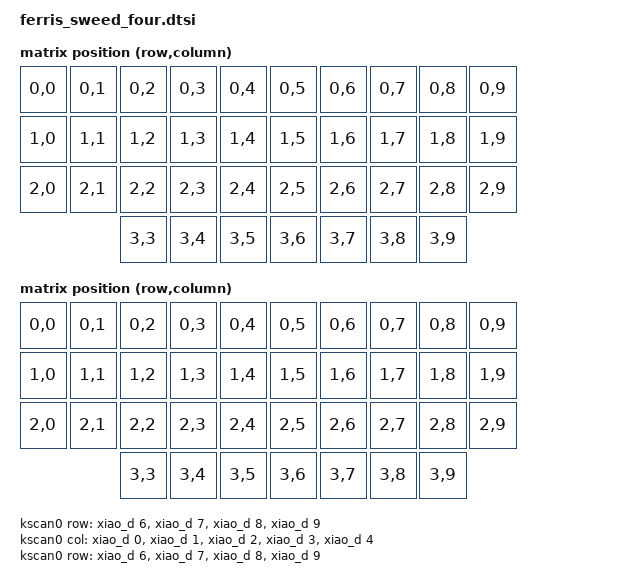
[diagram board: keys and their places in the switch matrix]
/*
 * Copyright (c) 2022 The ZMK Contributors
 *
 * SPDX-License-Identifier: MIT
 */

#include <dt-bindings/zmk/matrix_transform.h>

/ {
    chosen {
        zmk,kscan = &kscan0;
        zmk,matrix_transform = &default_transform;
    /delete-property/ zephyr,console;
    /delete-property/ zephyr,shell-uart;
    };

    default_transform: keymap_transform_0 {
        compatible = "zmk,matrix-transform";
        columns = <7>;
        rows = <6>;
        map = <
    RC(0,0) RC(1,0) RC(0,1) RC(1,1) RC(0,2) RC(1,2) RC(0,3) RC(1,3) RC(0,4) RC(1,4)
    RC(2,0) RC(3,0) RC(2,1) RC(3,1) RC(2,2) RC(3,2) RC(2,3) RC(3,3) RC(2,4) RC(3,4)
            RC(4,0) RC(5,0) RC(4,1)                 RC(5,2) RC(4,3) RC(5,3)
                          RC(5,1) RC(4,2)       RC(5,4) RC(4,4)
        >;
    };


    kscan0: kscan_0 {
        compatible = "zmk,kscan-gpio-matrix";
        label = "KSCAN";
        diode-direction = "col2row";

        col-gpios
            = <&xiao_d 0 (GPIO_ACTIVE_HIGH | GPIO_PULL_DOWN)>
            , <&xiao_d 1 (GPIO_ACTIVE_HIGH | GPIO_PULL_DOWN)>
            , <&xiao_d 2 (GPIO_ACTIVE_HIGH | GPIO_PULL_DOWN)>
            , <&xiao_d 3 (GPIO_ACTIVE_HIGH | GPIO_PULL_DOWN)>
            , <&xiao_d 4 (GPIO_ACTIVE_HIGH | GPIO_PULL_DOWN)>
            ;

        row-gpios
            = <&xiao_d 6 GPIO_ACTIVE_HIGH>
            , <&xiao_d 7 GPIO_ACTIVE_HIGH>
            , <&xiao_d 8 GPIO_ACTIVE_HIGH>
            , <&xiao_d 9 GPIO_ACTIVE_HIGH>
            ;
    };

};


/*
 * Copyright (c) 2020 Pete Johanson
 *
 * SPDX-License-Identifier: MIT
 */

#include <dt-bindings/zmk/matrix_transform.h>

/ {
    chosen {
        zephyr,display = &oled;
        zmk,kscan = &kscan0;
        zmk,matrix_transform = &default_transform;
    };

    default_transform: keymap_transform_0 {
        compatible = "zmk,matrix-transform";
        columns = <10>;
        rows = <4>;
// | SW1  | SW2  | SW3  | SW4  | SW5  | SW6  |   | SW6  | SW5  | SW4  | SW3  | SW2  | SW1  |
// | SW7  | SW8  | SW9  | SW10 | SW11 | SW12 |   | SW12 | SW11 | SW10 | SW9  | SW8  | SW7  |
// | SW13 | SW14 | SW15 | SW16 | SW17 | SW18 |   | SW18 | SW17 | SW16 | SW15 | SW14 | SW13 |
//                      | SW19 | SW20 | SW21 |   | SW21 | SW20 | SW19 |
        map = <
RC(0,0) RC(0,1) RC(0,2) RC(0,3) RC(0,4)  RC(0,5) RC(0,6) RC(0,7) RC(0,8) RC(0,9) 
RC(1,0) RC(1,1) RC(1,2) RC(1,3) RC(1,4)  RC(1,5) RC(1,6) RC(1,7) RC(1,8) RC(1,9) 
RC(2,0) RC(2,1) RC(2,2) RC(2,3) RC(2,4)  RC(2,5) RC(2,6) RC(2,7) RC(2,8) RC(2,9) 
                RC(3,3) RC(3,4) RC(3,5)  RC(3,6) RC(3,7) RC(3,8) RC(3,9)
        >;
    };

    five_column_transform: keymap_transform_1 {
        compatible = "zmk,matrix-transform";
        columns = <10>;
        rows = <4>;
// | SW2  | SW3  | SW4  | SW5  | SW6  |   | SW6  | SW5  | SW4  | SW3  | SW2  |
// | SW8  | SW9  | SW10 | SW11 | SW12 |   | SW12 | SW11 | SW10 | SW9  | SW8  |
// | SW14 | SW15 | SW16 | SW17 | SW18 |   | SW18 | SW17 | SW16 | SW15 | SW14 |
//                      | SW19 | SW20 | SW21 |   | SW21 | SW20 | SW19 |
        map = <
RC(0,0) RC(0,1) RC(0,2) RC(0,3) RC(0,4)  RC(0,5) RC(0,6) RC(0,7) RC(0,8) RC(0,9) 
RC(1,0) RC(1,1) RC(1,2) RC(1,3) RC(1,4)  RC(1,5) RC(1,6) RC(1,7) RC(1,8) RC(1,9) 
RC(2,0) RC(2,1) RC(2,2) RC(2,3) RC(2,4)  RC(2,5) RC(2,6) RC(2,7) RC(2,8) RC(2,9) 
                RC(3,3) RC(3,4) RC(3,5)  RC(3,6) RC(3,7) RC(3,8) RC(3,9)
        >;
    };

    kscan0: kscan {
        compatible = "zmk,kscan-gpio-matrix";
        label = "KSCAN";

        diode-direction = "col2row";
        row-gpios
            = <&xiao_d 6 (GPIO_ACTIVE_HIGH | GPIO_PULL_DOWN)>
            , <&xiao_d 7 (GPIO_ACTIVE_HIGH | GPIO_PULL_DOWN)>
            , <&xiao_d 8 (GPIO_ACTIVE_HIGH | GPIO_PULL_DOWN)>
            , <&xiao_d 9 (GPIO_ACTIVE_HIGH | GPIO_PULL_DOWN)>
            ;
    };

};


&xiao_spi { status = "disabled"; };
&xiao_serial { status = "disabled"; };
